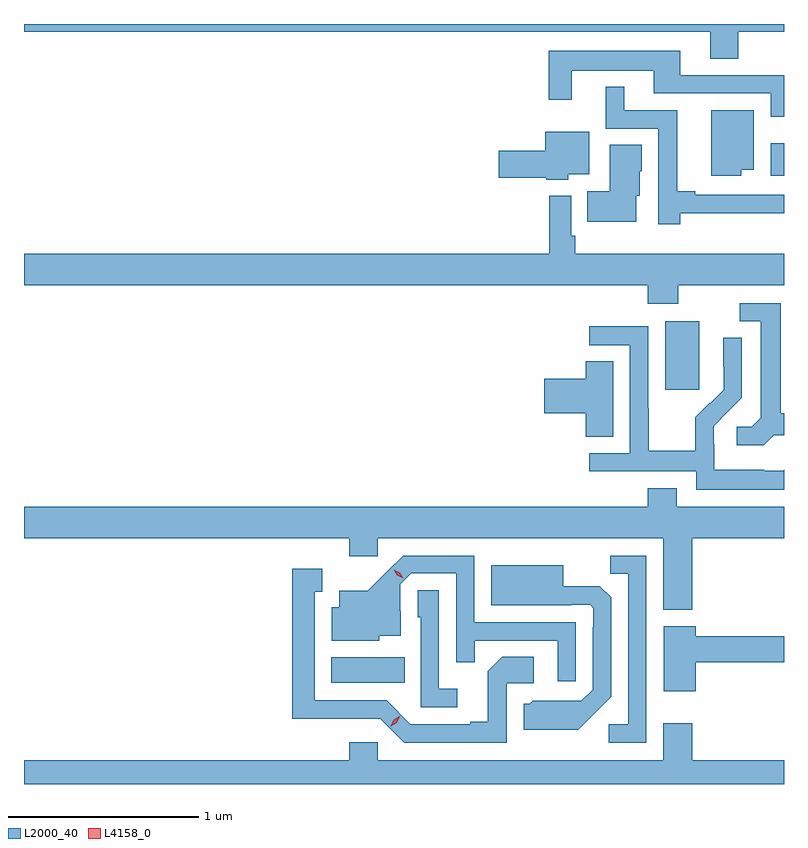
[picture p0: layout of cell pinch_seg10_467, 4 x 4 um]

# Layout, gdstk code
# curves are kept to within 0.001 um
import gdstk
lib = gdstk.Library(unit=1e-6, precision=1e-09)
def R(c, l, rs):  # rectangles x0, y0, x1, y1
    for r in rs: c.add(gdstk.rectangle(r[:2], r[2:], *l))
def P(c, l, *ps):  # polygons
    for p in ps: c.add(gdstk.Polygon(p, *l))
L2000_40 = (2000, 40)
L4158_0 = (4158, 0)

pinch_seg10_467 = lib.new_cell('pinch_seg10_467')
R(pinch_seg10_467, L2000_40, [(387.563,1307.546,387.95,1307.68), (389.321,1309.089,389.5,1309.45), (389.876,1310.216,389.947,1310.386)])
P(pinch_seg10_467, L2000_40, [(389.706,1310.972),(389.947,1310.972),(389.947,1311.014),(385.947,1311.014),(385.947,1310.972),(389.558,1310.972),(389.558,1310.83),(389.706,1310.83)],
  [(389.947,1310.745),(389.401,1310.745),(389.401,1310.872),(388.71,1310.872),(388.71,1310.616),(388.831,1310.616),(388.831,1310.768),(389.261,1310.768),(389.261,1310.649),(389.877,1310.649),(389.877,1310.526),(389.947,1310.526)],
  [(389.402,1310.018),(389.947,1310.018),(389.947,1310.115),(389.479,1310.115),(389.479,1310.135),(389.384,1310.135),(389.384,1310.559),(389.107,1310.559),(389.107,1310.683),(389.009,1310.683),(389.009,1310.463),(389.286,1310.463),(389.286,1309.959),(389.402,1309.959)],
  [(389.722,1310.246),(389.788,1310.246),(389.788,1310.56),(389.564,1310.56),(389.564,1310.216),(389.722,1310.216)],
  [(388.812,1310.222),(388.921,1310.222),(388.921,1310.446),(388.691,1310.446),(388.691,1310.348),(388.446,1310.348),(388.446,1310.206),(388.695,1310.206),(388.695,1310.195),(388.812,1310.195)],
  [(389.17,1310.109),(389.188,1310.109),(389.188,1310.238),(389.197,1310.238),(389.197,1310.378),(389.03,1310.378),(389.03,1310.134),(388.912,1310.134),(388.912,1309.973),(389.17,1309.973)],
  [(389.391,1309.64),(389.947,1309.64),(389.947,1309.804),(388.847,1309.804),(388.847,1309.9),(388.827,1309.9),(388.827,1310.11),(388.711,1310.11),(388.711,1309.804),(385.947,1309.804),(385.947,1309.64),(389.231,1309.64),(389.231,1309.541),(389.391,1309.541)],
  [(389.892,1308.849),(389.947,1308.849),(389.947,1308.965),(389.929,1308.965),(389.929,1309.545),(389.715,1309.545),(389.715,1309.449),(389.825,1309.449),(389.825,1308.941),(389.778,1308.894),(389.697,1308.894),(389.697,1308.797),(389.84,1308.797)],
  [(389.947,1308.667),(389.943,1308.663),(389.843,1308.663),(389.843,1308.667),(389.58,1308.667),(389.58,1308.801),(389.578,1308.801),(389.578,1308.898),(389.724,1309.046),(389.724,1309.364),(389.628,1309.364),(389.628,1309.21),(389.63,1309.21),(389.63,1309.088),(389.559,1309.017),(389.556,1309.02),(389.479,1308.943),(389.479,1308.769),(389.235,1308.769),(389.235,1308.992),(389.232,1308.992),(389.232,1309.422),(388.923,1309.422),(388.923,1309.323),(389.136,1309.323),(389.136,1308.756),(388.923,1308.756),(388.923,1308.66),(389.484,1308.66),(389.484,1308.563),(389.947,1308.563)],
  [(389.047,1309.238),(388.904,1309.238),(388.904,1309.148),(388.686,1309.148),(388.686,1308.965),(388.904,1308.965),(388.904,1308.841),(389.047,1308.841)],
  [(389.465,1308.308),(389.947,1308.308),(389.947,1308.472),(389.383,1308.472),(389.383,1308.571),(389.231,1308.571),(389.231,1308.472),(385.947,1308.472),(385.947,1308.308),(387.659,1308.308),(387.659,1308.213),(387.81,1308.213),(387.81,1308.308),(389.312,1308.308),(389.312,1307.93),(389.465,1307.93)],
  [(388.851,1307.865),(388.317,1307.865),(388.317,1308.216),(387.944,1308.216),(387.757,1308.031),(387.605,1308.031),(387.605,1307.944),(387.566,1307.944),(387.566,1307.768),(387.816,1307.768),(387.816,1307.795),(387.931,1307.795),(387.931,1307.924),(387.927,1307.924),(387.927,1308.066),(387.984,1308.123),(388.221,1308.123),(388.221,1307.656),(388.319,1307.656),(388.319,1307.769),(388.755,1307.769),(388.755,1307.556),(388.851,1307.556)],
  [(389.223,1308.216),(389.032,1308.216),(389.032,1308.121),(389.127,1308.121),(389.127,1307.328),(389.025,1307.328),(389.025,1307.232),(389.223,1307.232)],
  [(388.945,1307.381),(389.037,1307.474),(389.037,1307.996),(388.978,1308.055),(388.786,1308.055),(388.786,1308.166),(388.406,1308.166),(388.406,1307.954),(388.826,1307.954),(388.826,1307.958),(388.926,1307.958),(388.944,1307.94),(388.944,1307.84),(388.941,1307.84),(388.941,1307.511),(388.881,1307.451),(388.624,1307.452),(388.608,1307.436),(388.577,1307.436),(388.577,1307.3),(388.865,1307.3)],
  [(388.488,1307.544),(388.63,1307.544),(388.63,1307.684),(388.465,1307.684),(388.389,1307.608),(388.389,1307.341),(388.295,1307.341),(388.295,1307.328),(387.981,1307.328),(387.855,1307.454),(387.478,1307.454),(387.478,1308.027),(387.517,1308.027),(387.517,1308.148),(387.36,1308.148),(387.36,1307.357),(387.822,1307.358),(387.948,1307.232),(388.488,1307.232)],
  [(388.228,1307.515),(388.131,1307.515),(388.131,1308.035),(388.02,1308.035),(388.02,1307.892),(388.035,1307.892),(388.035,1307.418),(388.228,1307.418)],
  [(389.482,1307.656),(389.947,1307.656),(389.947,1307.792),(389.482,1307.792),(389.482,1307.845),(389.315,1307.845),(389.315,1307.502),(389.482,1307.502)],
  [(389.947,1307.14),(389.465,1307.14),(389.465,1307.335),(389.312,1307.335),(389.312,1307.14),(387.81,1307.14),(387.81,1307.233),(387.659,1307.233),(387.659,1307.14),(385.947,1307.14),(385.947,1307.014),(389.947,1307.014)])
P(pinch_seg10_467, L4158_0, [(387.942,1308.097),(387.911,1308.112),(387.893,1308.141),(387.893,1308.141),(387.893,1308.141),(387.924,1308.127),(387.942,1308.098),(387.942,1308.097)],
  [(387.877,1307.318),(387.877,1307.318),(387.894,1307.351),(387.925,1307.37),(387.925,1307.37),(387.925,1307.37),(387.908,1307.337),(387.877,1307.318)])

lib.write_gds('pinch_seg10_467.gds')
